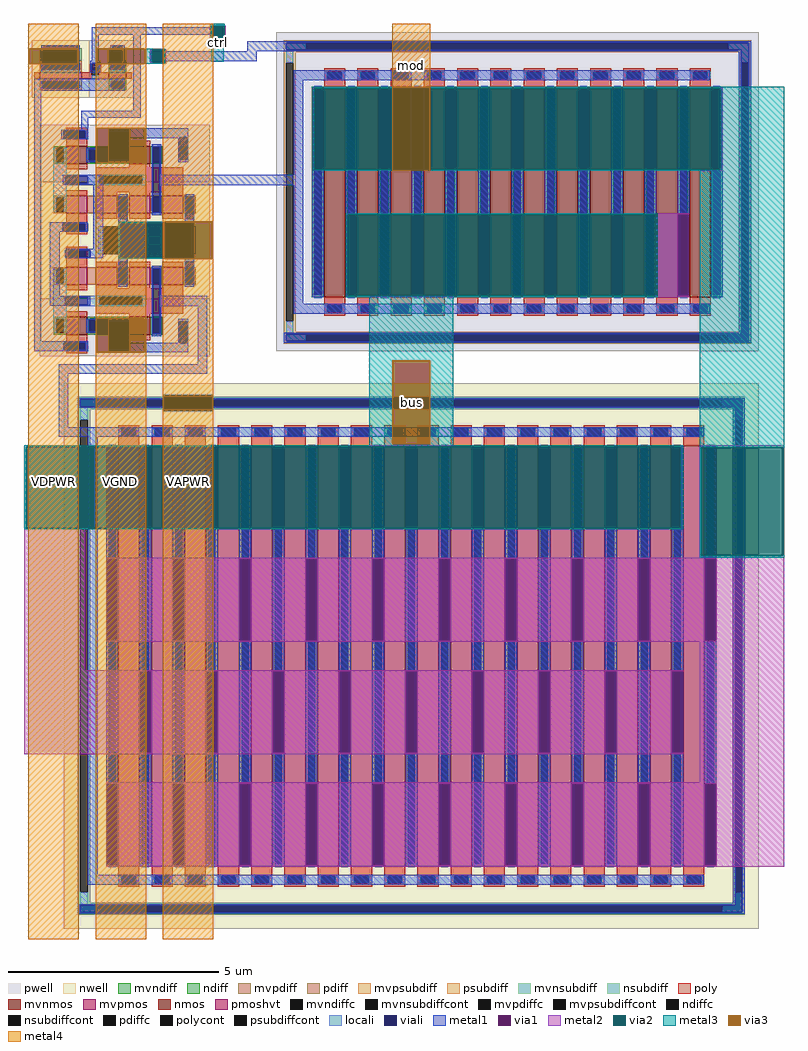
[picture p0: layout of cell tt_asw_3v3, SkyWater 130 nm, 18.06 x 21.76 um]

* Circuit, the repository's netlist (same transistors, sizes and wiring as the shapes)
** sch_path: /home/tnt/consult/tinytapeout/tt_asw_3v3/xschem/tt_asw_3v3.sch
.subckt tt_asw_3v3 VGND VDPWR VAPWR ctrl mod bus
*.iopin mod
*.iopin bus
*.ipin ctrl
*.iopin VGND
*.iopin VDPWR
*.iopin VAPWR
XM1 tgon_n net2 VAPWR VAPWR sky130_fd_pr__pfet_g5v0d10v5 L=0.5 W=0.84 nf=1 ad='int((nf+1)/2) * W/nf * 0.29' as='int((nf+2)/2) * W/nf * 0.29'
+ pd='2*int((nf+1)/2) * (W/nf + 0.29)' ps='2*int((nf+2)/2) * (W/nf + 0.29)' nrd='0.29 / W' nrs='0.29 / W' sa=0 sb=0 sd=0 mult=1 m=1
XM2 tgon_n net2 VGND VGND sky130_fd_pr__nfet_g5v0d10v5 L=0.5 W=0.42 nf=1 ad='int((nf+1)/2) * W/nf * 0.29' as='int((nf+2)/2) * W/nf * 0.29'
+ pd='2*int((nf+1)/2) * (W/nf + 0.29)' ps='2*int((nf+2)/2) * (W/nf + 0.29)' nrd='0.29 / W' nrs='0.29 / W' sa=0 sb=0 sd=0 mult=1 m=1
XM3 tgon net1 VAPWR VAPWR sky130_fd_pr__pfet_g5v0d10v5 L=0.5 W=0.84 nf=1 ad='int((nf+1)/2) * W/nf * 0.29' as='int((nf+2)/2) * W/nf * 0.29'
+ pd='2*int((nf+1)/2) * (W/nf + 0.29)' ps='2*int((nf+2)/2) * (W/nf + 0.29)' nrd='0.29 / W' nrs='0.29 / W' sa=0 sb=0 sd=0 mult=1 m=1
XM4 tgon net1 VGND VGND sky130_fd_pr__nfet_g5v0d10v5 L=0.5 W=0.42 nf=1 ad='int((nf+1)/2) * W/nf * 0.29' as='int((nf+2)/2) * W/nf * 0.29'
+ pd='2*int((nf+1)/2) * (W/nf + 0.29)' ps='2*int((nf+2)/2) * (W/nf + 0.29)' nrd='0.29 / W' nrs='0.29 / W' sa=0 sb=0 sd=0 mult=1 m=1
XM5 bus tgon_n mod VAPWR sky130_fd_pr__pfet_g5v0d10v5 L=0.5 W=180 nf=18 ad='int((nf+1)/2) * W/nf * 0.29' as='int((nf+2)/2) * W/nf * 0.29'
+ pd='2*int((nf+1)/2) * (W/nf + 0.29)' ps='2*int((nf+2)/2) * (W/nf + 0.29)' nrd='0.29 / W' nrs='0.29 / W' sa=0 sb=0 sd=0 mult=1 m=1
XM6 bus tgon mod VGND sky130_fd_pr__nfet_g5v0d10v5 L=0.5 W=60 nf=12 ad='int((nf+1)/2) * W/nf * 0.29' as='int((nf+2)/2) * W/nf * 0.29'
+ pd='2*int((nf+1)/2) * (W/nf + 0.29)' ps='2*int((nf+2)/2) * (W/nf + 0.29)' nrd='0.29 / W' nrs='0.29 / W' sa=0 sb=0 sd=0 mult=1 m=1
XM7 ctrl_n ctrl VGND VGND sky130_fd_pr__nfet_01v8 L=0.15 W=0.42 nf=1 ad='int((nf+1)/2) * W/nf * 0.29' as='int((nf+2)/2) * W/nf * 0.29'
+ pd='2*int((nf+1)/2) * (W/nf + 0.29)' ps='2*int((nf+2)/2) * (W/nf + 0.29)' nrd='0.29 / W' nrs='0.29 / W' sa=0 sb=0 sd=0 mult=1 m=1
XM8 ctrl_n ctrl VDPWR VDPWR sky130_fd_pr__pfet_01v8_hvt L=0.15 W=1 nf=1 ad='int((nf+1)/2) * W/nf * 0.29' as='int((nf+2)/2) * W/nf * 0.29'
+ pd='2*int((nf+1)/2) * (W/nf + 0.29)' ps='2*int((nf+2)/2) * (W/nf + 0.29)' nrd='0.29 / W' nrs='0.29 / W' sa=0 sb=0 sd=0 mult=1 m=1
XM9 net1 ctrl VGND VGND sky130_fd_pr__nfet_g5v0d10v5 L=0.5 W=0.42 nf=1 ad='int((nf+1)/2) * W/nf * 0.29' as='int((nf+2)/2) * W/nf * 0.29'
+ pd='2*int((nf+1)/2) * (W/nf + 0.29)' ps='2*int((nf+2)/2) * (W/nf + 0.29)' nrd='0.29 / W' nrs='0.29 / W' sa=0 sb=0 sd=0 mult=1 m=1
XM10 net2 ctrl_n VGND VGND sky130_fd_pr__nfet_g5v0d10v5 L=0.5 W=0.42 nf=1 ad='int((nf+1)/2) * W/nf * 0.29' as='int((nf+2)/2) * W/nf * 0.29'
+ pd='2*int((nf+1)/2) * (W/nf + 0.29)' ps='2*int((nf+2)/2) * (W/nf + 0.29)' nrd='0.29 / W' nrs='0.29 / W' sa=0 sb=0 sd=0 mult=1 m=1
XM11 net1 net2 net3 VAPWR sky130_fd_pr__pfet_g5v0d10v5 L=0.5 W=0.42 nf=1 ad='int((nf+1)/2) * W/nf * 0.29' as='int((nf+2)/2) * W/nf * 0.29'
+ pd='2*int((nf+1)/2) * (W/nf + 0.29)' ps='2*int((nf+2)/2) * (W/nf + 0.29)' nrd='0.29 / W' nrs='0.29 / W' sa=0 sb=0 sd=0 mult=1 m=1
XM12 net2 net1 net4 VAPWR sky130_fd_pr__pfet_g5v0d10v5 L=0.5 W=0.42 nf=1 ad='int((nf+1)/2) * W/nf * 0.29' as='int((nf+2)/2) * W/nf * 0.29'
+ pd='2*int((nf+1)/2) * (W/nf + 0.29)' ps='2*int((nf+2)/2) * (W/nf + 0.29)' nrd='0.29 / W' nrs='0.29 / W' sa=0 sb=0 sd=0 mult=1 m=1
XM13 net3 net1 VAPWR VAPWR sky130_fd_pr__pfet_g5v0d10v5 L=0.5 W=0.42 nf=1 ad='int((nf+1)/2) * W/nf * 0.29' as='int((nf+2)/2) * W/nf * 0.29'
+ pd='2*int((nf+1)/2) * (W/nf + 0.29)' ps='2*int((nf+2)/2) * (W/nf + 0.29)' nrd='0.29 / W' nrs='0.29 / W' sa=0 sb=0 sd=0 mult=1 m=1
XM14 net4 net2 VAPWR VAPWR sky130_fd_pr__pfet_g5v0d10v5 L=0.5 W=0.42 nf=1 ad='int((nf+1)/2) * W/nf * 0.29' as='int((nf+2)/2) * W/nf * 0.29'
+ pd='2*int((nf+1)/2) * (W/nf + 0.29)' ps='2*int((nf+2)/2) * (W/nf + 0.29)' nrd='0.29 / W' nrs='0.29 / W' sa=0 sb=0 sd=0 mult=1 m=1
.ends
.end

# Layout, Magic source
magic
tech sky130A
magscale 1 2
<< viali >>
rect 1246 4228 3444 4262
rect 3410 2876 3444 4228
rect 1246 2842 3444 2876
rect 268 2532 3414 2566
rect 3380 162 3414 2532
rect 268 128 3414 162
<< metal1 >>
rect 888 4334 894 4340
rect 322 4300 894 4334
rect 82 4224 266 4230
rect 322 4208 356 4300
rect 402 4224 470 4230
rect 82 4164 266 4170
rect 402 4164 470 4170
rect 48 2842 82 4090
rect 520 3938 554 4300
rect 888 4288 894 4300
rect 946 4288 952 4340
rect 1060 4262 3456 4268
rect 1060 4228 1246 4262
rect 598 4170 604 4224
rect 672 4220 678 4224
rect 1060 4222 3410 4228
rect 1060 4220 1106 4222
rect 672 4174 1106 4220
rect 672 4170 678 4174
rect 272 3904 554 3938
rect 1282 4084 3260 4130
rect 272 3848 306 3904
rect 1282 3635 1328 4084
rect 652 3585 1328 3635
rect 652 3009 872 3059
rect 48 2796 176 2842
rect 826 2734 872 3009
rect 1282 3020 1328 3585
rect 1370 4046 1424 4052
rect 1370 3052 1424 3658
rect 1528 3446 1582 4052
rect 1528 3052 1582 3058
rect 1686 4046 1740 4052
rect 1686 3052 1740 3658
rect 1844 3446 1898 4052
rect 1844 3052 1898 3058
rect 2002 4046 2056 4052
rect 2002 3052 2056 3658
rect 2160 3446 2214 4052
rect 2160 3052 2214 3058
rect 2318 4046 2372 4052
rect 2318 3052 2372 3658
rect 2476 3446 2530 4052
rect 2476 3052 2530 3058
rect 2634 4046 2688 4052
rect 2634 3052 2688 3658
rect 2792 3446 2846 4052
rect 2792 3052 2846 3058
rect 2950 4046 3004 4052
rect 2950 3052 3004 3658
rect 3108 3446 3162 4052
rect 3108 3052 3162 3058
rect 3266 4046 3320 4052
rect 3266 3052 3320 3658
rect 1282 2974 3260 3020
rect 3398 2882 3410 4222
rect 1234 2876 3410 2882
rect 1234 2842 1246 2876
rect 3444 2842 3456 4262
rect 1234 2836 3456 2842
rect 164 2688 872 2734
rect 164 2434 210 2688
rect 662 2576 898 2582
rect 256 2566 662 2572
rect 898 2566 3426 2572
rect 256 2532 268 2566
rect 256 2526 662 2532
rect 898 2526 3380 2532
rect 662 2516 898 2522
rect 164 2388 3230 2434
rect 304 306 350 2388
rect 392 1808 446 2348
rect 392 740 446 1420
rect 392 346 446 352
rect 550 2342 604 2348
rect 550 1274 604 1954
rect 550 346 604 886
rect 708 1808 762 2348
rect 708 740 762 1420
rect 708 346 762 352
rect 866 2342 920 2348
rect 866 1274 920 1954
rect 866 346 920 886
rect 1024 1808 1078 2348
rect 1024 740 1078 1420
rect 1024 346 1078 352
rect 1182 2342 1236 2348
rect 1182 1274 1236 1954
rect 1182 346 1236 886
rect 1340 1808 1394 2348
rect 1340 740 1394 1420
rect 1340 346 1394 352
rect 1498 2342 1552 2348
rect 1498 1274 1552 1954
rect 1498 346 1552 886
rect 1656 1808 1710 2348
rect 1656 740 1710 1420
rect 1656 346 1710 352
rect 1814 2342 1868 2348
rect 1814 1274 1868 1954
rect 1814 346 1868 886
rect 1972 1808 2026 2348
rect 1972 740 2026 1420
rect 1972 346 2026 352
rect 2130 2342 2184 2348
rect 2130 1274 2184 1954
rect 2130 346 2184 886
rect 2288 1808 2342 2348
rect 2288 740 2342 1420
rect 2288 346 2342 352
rect 2446 2342 2500 2348
rect 2446 1274 2500 1954
rect 2446 346 2500 886
rect 2604 1808 2658 2348
rect 2604 740 2658 1420
rect 2604 346 2658 352
rect 2762 2342 2816 2348
rect 2762 1274 2816 1954
rect 2762 346 2816 886
rect 2920 1808 2974 2348
rect 2920 740 2974 1420
rect 2920 346 2974 352
rect 3078 2342 3132 2348
rect 3078 1274 3132 1954
rect 3078 346 3132 886
rect 3236 1808 3290 2348
rect 3236 740 3290 1420
rect 3236 346 3290 352
rect 304 260 3230 306
rect 3368 168 3380 2526
rect 256 162 3380 168
rect 256 128 268 162
rect 3414 128 3426 2566
rect 256 122 3426 128
<< via1 >>
rect 82 4170 266 4224
rect 402 4170 470 4224
rect 894 4288 946 4340
rect 604 4170 672 4224
rect 406 3694 498 3854
rect 448 3240 810 3404
rect 406 2790 498 2950
rect 1370 3658 1424 4046
rect 1528 3058 1582 3446
rect 1686 3658 1740 4046
rect 1844 3058 1898 3446
rect 2002 3658 2056 4046
rect 2160 3058 2214 3446
rect 2318 3658 2372 4046
rect 2476 3058 2530 3446
rect 2634 3658 2688 4046
rect 2792 3058 2846 3446
rect 2950 3658 3004 4046
rect 3108 3058 3162 3446
rect 3266 3658 3320 4046
rect 662 2566 898 2576
rect 662 2532 898 2566
rect 662 2522 898 2532
rect 392 1420 446 1808
rect 392 352 446 740
rect 550 1954 604 2342
rect 550 886 604 1274
rect 708 1420 762 1808
rect 708 352 762 740
rect 866 1954 920 2342
rect 866 886 920 1274
rect 1024 1420 1078 1808
rect 1024 352 1078 740
rect 1182 1954 1236 2342
rect 1182 886 1236 1274
rect 1340 1420 1394 1808
rect 1340 352 1394 740
rect 1498 1954 1552 2342
rect 1498 886 1552 1274
rect 1656 1420 1710 1808
rect 1656 352 1710 740
rect 1814 1954 1868 2342
rect 1814 886 1868 1274
rect 1972 1420 2026 1808
rect 1972 352 2026 740
rect 2130 1954 2184 2342
rect 2130 886 2184 1274
rect 2288 1420 2342 1808
rect 2288 352 2342 740
rect 2446 1954 2500 2342
rect 2446 886 2500 1274
rect 2604 1420 2658 1808
rect 2604 352 2658 740
rect 2762 1954 2816 2342
rect 2762 886 2816 1274
rect 2920 1420 2974 1808
rect 2920 352 2974 740
rect 3078 1954 3132 2342
rect 3078 886 3132 1274
rect 3236 1420 3290 1808
rect 3236 352 3290 740
<< metal2 >>
rect 882 4286 892 4342
rect 948 4286 958 4342
rect 82 4226 266 4230
rect 82 4224 92 4226
rect 256 4224 266 4226
rect 82 4168 92 4170
rect 256 4168 266 4170
rect 82 4164 266 4168
rect 398 4226 474 4230
rect 398 4224 408 4226
rect 464 4224 474 4226
rect 398 4170 402 4224
rect 470 4170 474 4224
rect 398 4168 408 4170
rect 464 4168 474 4170
rect 398 4164 474 4168
rect 600 4226 676 4230
rect 600 4224 610 4226
rect 666 4224 676 4226
rect 600 4170 604 4224
rect 672 4170 676 4224
rect 600 4168 610 4170
rect 666 4168 676 4170
rect 600 4164 676 4168
rect 1370 4046 3320 4052
rect 400 3694 406 3854
rect 498 3694 504 3854
rect 1370 3652 3320 3658
rect 1528 3446 3162 3452
rect 448 3404 810 3410
rect 448 3234 810 3240
rect 3002 3058 3108 3446
rect 1528 3052 3162 3058
rect 400 2790 406 2950
rect 498 2790 504 2950
rect 662 2580 898 2582
rect 662 2576 672 2580
rect 888 2576 898 2580
rect 662 2518 672 2522
rect 888 2518 898 2522
rect 662 2516 898 2518
rect 0 2342 3132 2348
rect 0 1954 10 2342
rect 0 1948 3132 1954
rect 3212 2338 3612 2348
rect 0 1280 292 1948
rect 3212 1824 3218 2338
rect 3606 1824 3612 2338
rect 3212 1814 3612 1824
rect 392 1808 3612 1814
rect 446 1420 708 1808
rect 762 1420 1024 1808
rect 1078 1420 1340 1808
rect 1394 1420 1656 1808
rect 1710 1420 1972 1808
rect 2026 1420 2288 1808
rect 2342 1420 2604 1808
rect 2658 1420 2920 1808
rect 2974 1420 3236 1808
rect 3290 1420 3612 1808
rect 392 1414 3612 1420
rect 0 1274 3132 1280
rect 0 886 550 1274
rect 604 886 866 1274
rect 920 886 1182 1274
rect 1236 886 1498 1274
rect 1552 886 1814 1274
rect 1868 886 2130 1274
rect 2184 886 2446 1274
rect 2500 886 2762 1274
rect 2816 886 3078 1274
rect 0 880 3132 886
rect 3212 746 3612 1414
rect 392 740 3612 746
rect 446 352 708 740
rect 762 352 1024 740
rect 1078 352 1340 740
rect 1394 352 1656 740
rect 1710 352 1972 740
rect 2026 352 2288 740
rect 2342 352 2604 740
rect 2658 352 2920 740
rect 2974 352 3236 740
rect 3290 352 3612 740
rect 392 346 3612 352
<< via2 >>
rect 892 4340 948 4342
rect 892 4288 894 4340
rect 894 4288 946 4340
rect 946 4288 948 4340
rect 892 4286 948 4288
rect 92 4224 256 4226
rect 92 4170 256 4224
rect 92 4168 256 4170
rect 408 4224 464 4226
rect 408 4170 464 4224
rect 408 4168 464 4170
rect 610 4224 666 4226
rect 610 4170 666 4224
rect 610 4168 666 4170
rect 406 3704 498 3844
rect 1380 3658 1424 4046
rect 1424 3658 1686 4046
rect 1686 3658 1740 4046
rect 1740 3658 2002 4046
rect 2002 3658 2056 4046
rect 2056 3658 2318 4046
rect 2318 3658 2372 4046
rect 2372 3658 2634 4046
rect 2634 3658 2688 4046
rect 2688 3658 2950 4046
rect 2950 3658 3004 4046
rect 3004 3658 3266 4046
rect 3266 3658 3310 4046
rect 458 3240 800 3404
rect 1538 3058 1582 3446
rect 1582 3058 1844 3446
rect 1844 3058 1898 3446
rect 1898 3058 2160 3446
rect 2160 3058 2214 3446
rect 2214 3058 2476 3446
rect 2476 3058 2530 3446
rect 2530 3058 2792 3446
rect 2792 3058 2846 3446
rect 2846 3058 3002 3446
rect 406 2800 498 2940
rect 672 2576 888 2580
rect 672 2522 888 2576
rect 672 2518 888 2522
rect 10 1954 550 2342
rect 550 1954 604 2342
rect 604 1954 866 2342
rect 866 1954 920 2342
rect 920 1954 1182 2342
rect 1182 1954 1236 2342
rect 1236 1954 1498 2342
rect 1498 1954 1552 2342
rect 1552 1954 1814 2342
rect 1814 1954 1868 2342
rect 1868 1954 2130 2342
rect 2130 1954 2184 2342
rect 2184 1954 2446 2342
rect 2446 1954 2500 2342
rect 2500 1954 2762 2342
rect 2762 1954 2816 2342
rect 2816 1954 3078 2342
rect 3078 1954 3122 2342
rect 3218 1824 3606 2338
<< metal3 >>
rect 886 4342 954 4352
rect 886 4286 892 4342
rect 948 4286 954 4342
rect 886 4276 954 4286
rect 20 4162 26 4232
rect 254 4226 262 4232
rect 256 4168 262 4226
rect 254 4162 262 4168
rect 340 4162 346 4232
rect 574 4226 672 4232
rect 574 4168 610 4226
rect 666 4168 672 4226
rect 890 4172 950 4276
rect 574 4162 672 4168
rect 1370 4050 3612 4052
rect 1370 4046 1752 4050
rect 1928 4046 3612 4050
rect 340 3694 346 3854
rect 574 3694 580 3854
rect 1370 3658 1380 4046
rect 3310 3658 3612 4046
rect 1370 3654 1752 3658
rect 1928 3654 3612 3658
rect 1370 3652 3612 3654
rect 1528 3446 3012 3452
rect 448 3404 666 3410
rect 448 3240 458 3404
rect 448 3234 666 3240
rect 894 3234 900 3410
rect 1528 3058 1538 3446
rect 3002 3058 3012 3446
rect 1528 3052 3012 3058
rect 340 2790 346 2950
rect 574 2790 580 2950
rect 1640 2750 2040 3052
rect 662 2582 898 2588
rect 662 2510 898 2516
rect 1640 2354 1752 2750
rect 1928 2354 2040 2750
rect 1640 2348 2040 2354
rect 0 2342 3132 2348
rect 0 1954 10 2342
rect 3122 1954 3132 2342
rect 0 1948 3132 1954
rect 3212 2338 3612 3652
rect 3212 1824 3218 2338
rect 3606 1824 3612 2338
rect 3212 1814 3612 1824
<< via3 >>
rect 26 4226 254 4232
rect 26 4168 92 4226
rect 92 4168 254 4226
rect 26 4162 254 4168
rect 346 4226 574 4232
rect 346 4168 408 4226
rect 408 4168 464 4226
rect 464 4168 574 4226
rect 346 4162 574 4168
rect 1752 4046 1928 4050
rect 346 3844 574 3854
rect 346 3704 406 3844
rect 406 3704 498 3844
rect 498 3704 574 3844
rect 346 3694 574 3704
rect 1752 3658 1928 4046
rect 1752 3654 1928 3658
rect 666 3404 894 3410
rect 666 3240 800 3404
rect 800 3240 894 3404
rect 666 3234 894 3240
rect 346 2940 574 2950
rect 346 2800 406 2940
rect 406 2800 498 2940
rect 498 2800 574 2940
rect 346 2790 574 2800
rect 662 2580 898 2582
rect 662 2518 672 2580
rect 672 2518 888 2580
rect 888 2518 898 2580
rect 662 2516 898 2518
rect 1752 2354 1928 2750
<< metal4 >>
rect 20 4232 260 4352
rect 20 4162 26 4232
rect 254 4162 260 4232
rect 20 0 260 4162
rect 340 4232 580 4352
rect 340 4162 346 4232
rect 574 4162 580 4232
rect 340 3854 580 4162
rect 340 3694 346 3854
rect 574 3694 580 3854
rect 340 2950 580 3694
rect 340 2790 346 2950
rect 574 2790 580 2950
rect 340 0 580 2790
rect 660 3410 900 4352
rect 1750 4050 1930 4352
rect 1750 3654 1752 4050
rect 1928 3654 1930 4050
rect 1750 3652 1930 3654
rect 660 3234 666 3410
rect 894 3234 900 3410
rect 660 2582 900 3234
rect 660 2516 662 2582
rect 898 2516 900 2582
rect 660 0 900 2516
rect 1750 2750 1930 2752
rect 1750 2354 1752 2750
rect 1928 2354 1930 2750
rect 1750 2352 1930 2354
use sky130_fd_pr__nfet_g5v0d10v5_SFRJCA  sky130_fd_pr__nfet_g5v0d10v5_SFRJCA_0
transform 1 0 2345 0 1 3552
box -1147 -758 1147 758
use sky130_fd_pr__pfet_g5v0d10v5_CYUY46  sky130_fd_pr__pfet_g5v0d10v5_CYUY46_0
transform 1 0 1841 0 1 1347
box -1651 -1297 1651 1297
use tt_lvl_shift  tt_lvl_shift_0
transform -1 0 880 0 -1 3322
box -2 -550 804 550
use tt_small_inv  tt_small_inv_0
transform 0 1 -4806 -1 0 4940
box 668 4844 940 5328
<< labels >>
rlabel metal4 20 0 260 4352 1 VDPWR
port 2 n power input
rlabel metal3 890 4172 950 4352 1 ctrl
port 4 n signal input
rlabel metal4 1750 3952 1930 4352 1 mod
port 5 n analog bidirectional
rlabel metal4 1750 2352 1930 2752 1 bus
port 6 n analog bidirectional
rlabel metal4 660 0 900 4352 1 VAPWR
port 3 n power input
rlabel metal4 340 0 580 4352 1 VGND
port 1 n ground input
<< properties >>
string FIXED_BBOX 0 0 3680 4352
<< end >>

# cell sky130_fd_pr__nfet_g5v0d10v5_SFRJCA: kit device sky130_fd_pr__nfet_g5v0d10v5, w 5 l 0.5 m 1 nf 12 diffcov 100 polycov 100 guard 1 glc 1 grc 1 gtc 1 gbc 1 tbcov 100 rlcov 100 topc 1 botc 1 poverlap 0 doverlap 1 lmin 0.50 wmin 0.42 compatible {sky130_fd_pr__nfet_01v8 sky130_fd_pr__nfet_01v8_lvt sky130_fd_bs_flash__special_sonosfet_star sky130_fd_pr__nfet_g5v0d10v5 sky130_fd_pr__nfet_05v0_nvt sky130_fd_pr__nfet_03v3_nvt} full_metal 1 viasrc 100 viadrn 100 viagate 100 viagb 0 viagr 0 viagl 0 viagt 0

# cell sky130_fd_pr__pfet_g5v0d10v5_CYUY46: kit device sky130_fd_pr__pfet_g5v0d10v5, w 10 l 0.5 m 1 nf 18 diffcov 100 polycov 100 guard 1 glc 1 grc 1 gtc 1 gbc 1 tbcov 100 rlcov 100 topc 1 botc 1 poverlap 0 doverlap 1 lmin 0.50 wmin 0.42 compatible {sky130_fd_pr__pfet_01v8 sky130_fd_pr__pfet_01v8_lvt sky130_fd_pr__pfet_01v8_hvt sky130_fd_pr__pfet_g5v0d10v5} full_metal 1 viasrc 100 viadrn 100 viagate 100 viagb 0 viagr 0 viagl 0 viagt 0

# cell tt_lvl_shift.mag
magic
tech sky130A
magscale 1 2
<< nwell >>
rect -2 -278 804 278
<< pwell >>
rect -2 278 804 550
rect -2 -550 804 -278
<< mvnmos >>
rect 280 364 380 448
rect 580 364 680 448
rect 280 -448 380 -364
rect 580 -448 680 -364
<< mvpmos >>
rect 122 128 222 212
rect 280 128 380 212
rect 438 128 538 212
rect 580 128 680 212
rect 122 -212 222 -128
rect 280 -212 380 -128
rect 438 -212 538 -128
rect 580 -212 680 -128
<< mvndiff >>
rect 222 440 280 448
rect 222 372 234 440
rect 268 372 280 440
rect 222 364 280 372
rect 380 440 580 448
rect 380 372 392 440
rect 568 372 580 440
rect 380 364 580 372
rect 680 440 738 448
rect 680 372 692 440
rect 726 372 738 440
rect 680 364 738 372
rect 222 -372 280 -364
rect 222 -440 234 -372
rect 268 -440 280 -372
rect 222 -448 280 -440
rect 380 -372 580 -364
rect 380 -440 392 -372
rect 568 -440 580 -372
rect 380 -448 580 -440
rect 680 -372 738 -364
rect 680 -440 692 -372
rect 726 -440 738 -372
rect 680 -448 738 -440
<< mvpdiff >>
rect 64 204 122 212
rect 64 136 76 204
rect 110 136 122 204
rect 64 128 122 136
rect 222 204 280 212
rect 222 136 234 204
rect 268 136 280 204
rect 222 128 280 136
rect 380 204 438 212
rect 380 136 392 204
rect 426 136 438 204
rect 380 128 438 136
rect 538 128 580 212
rect 680 204 738 212
rect 680 136 692 204
rect 726 136 738 204
rect 680 128 738 136
rect 64 -136 122 -128
rect 64 -204 76 -136
rect 110 -204 122 -136
rect 64 -212 122 -204
rect 222 -136 280 -128
rect 222 -204 234 -136
rect 268 -204 280 -136
rect 222 -212 280 -204
rect 380 -136 438 -128
rect 380 -204 392 -136
rect 426 -204 438 -136
rect 380 -212 438 -204
rect 538 -212 580 -128
rect 680 -136 738 -128
rect 680 -204 692 -136
rect 726 -204 738 -136
rect 680 -212 738 -204
<< mvndiffc >>
rect 234 372 268 440
rect 392 372 568 440
rect 692 372 726 440
rect 234 -440 268 -372
rect 392 -440 568 -372
rect 692 -440 726 -372
<< mvpdiffc >>
rect 76 136 110 204
rect 234 136 268 204
rect 392 136 426 204
rect 692 136 726 204
rect 76 -204 110 -136
rect 234 -204 268 -136
rect 392 -204 426 -136
rect 692 -204 726 -136
<< mvpsubdiff >>
rect 104 446 142 470
rect 104 412 106 446
rect 140 412 142 446
rect 104 388 142 412
rect 104 -412 142 -388
rect 104 -446 106 -412
rect 140 -446 142 -412
rect 104 -470 142 -446
<< mvnsubdiff >>
rect 64 -66 88 66
rect 504 -66 528 66
<< mvpsubdiffcont >>
rect 106 412 140 446
rect 106 -446 140 -412
<< mvnsubdiffcont >>
rect 88 -66 504 66
<< poly >>
rect 580 520 680 536
rect 580 486 590 520
rect 670 486 680 520
rect 280 448 380 474
rect 580 448 680 486
rect 280 348 380 364
rect 122 307 538 348
rect 580 338 680 364
rect 122 269 318 307
rect 522 269 538 307
rect 122 228 538 269
rect 122 212 222 228
rect 280 212 380 228
rect 438 212 538 228
rect 580 212 680 238
rect 122 102 222 128
rect 280 102 380 128
rect 438 102 538 128
rect 580 80 680 128
rect 580 46 590 80
rect 670 46 680 80
rect 580 30 680 46
rect 580 -46 680 -30
rect 580 -80 590 -46
rect 670 -80 680 -46
rect 122 -128 222 -102
rect 280 -128 380 -102
rect 438 -128 538 -102
rect 580 -128 680 -80
rect 122 -228 222 -212
rect 280 -228 380 -212
rect 438 -228 538 -212
rect 122 -269 538 -228
rect 580 -238 680 -212
rect 122 -307 318 -269
rect 522 -307 538 -269
rect 122 -348 538 -307
rect 280 -364 380 -348
rect 580 -364 680 -338
rect 280 -474 380 -448
rect 580 -486 680 -448
rect 580 -520 590 -486
rect 670 -520 680 -486
rect 580 -536 680 -520
<< polycont >>
rect 590 486 670 520
rect 318 269 522 307
rect 590 46 670 80
rect 590 -80 670 -46
rect 318 -307 522 -269
rect 590 -520 670 -486
<< locali >>
rect 574 486 586 520
rect 234 444 268 456
rect 376 434 392 440
rect 568 434 584 440
rect 376 378 388 434
rect 572 378 584 434
rect 376 372 392 378
rect 568 372 584 378
rect 676 372 692 440
rect 726 372 742 440
rect 76 208 110 220
rect 676 313 742 372
rect 302 307 742 313
rect 302 269 318 307
rect 522 305 742 307
rect 522 271 576 305
rect 684 271 742 305
rect 522 269 742 271
rect 302 263 742 269
rect 234 120 268 132
rect 392 208 426 220
rect 676 204 742 263
rect 676 136 692 204
rect 726 136 742 204
rect 76 66 110 102
rect 392 66 426 102
rect 72 20 88 66
rect 72 -20 82 20
rect 72 -66 88 -20
rect 504 -66 520 66
rect 670 46 686 80
rect 76 -102 110 -66
rect 392 -102 426 -66
rect 574 -80 590 -46
rect 76 -220 110 -208
rect 234 -132 268 -120
rect 392 -220 426 -208
rect 676 -204 692 -136
rect 726 -204 742 -136
rect 676 -263 742 -204
rect 302 -269 742 -263
rect 302 -307 318 -269
rect 522 -271 742 -269
rect 522 -305 576 -271
rect 684 -305 742 -271
rect 522 -307 742 -305
rect 302 -313 742 -307
rect 676 -372 742 -313
rect 376 -378 392 -372
rect 568 -378 584 -372
rect 376 -434 388 -378
rect 572 -434 584 -378
rect 376 -440 392 -434
rect 568 -440 584 -434
rect 676 -440 692 -372
rect 726 -440 742 -372
rect 234 -456 268 -444
rect 574 -520 586 -486
<< viali >>
rect 106 446 140 490
rect 586 486 590 520
rect 590 486 670 520
rect 670 486 692 520
rect 106 412 140 446
rect 106 384 140 412
rect 234 440 268 444
rect 234 372 268 440
rect 388 378 392 434
rect 392 378 568 434
rect 568 378 572 434
rect 76 204 110 208
rect 76 136 110 204
rect 76 102 110 136
rect 234 204 268 372
rect 576 271 684 305
rect 234 136 268 204
rect 234 132 268 136
rect 392 204 426 208
rect 392 136 426 204
rect 392 102 426 136
rect 82 -20 88 20
rect 88 -20 420 20
rect 564 46 590 80
rect 590 46 670 80
rect 76 -136 110 -102
rect 590 -80 670 -46
rect 670 -80 696 -46
rect 76 -204 110 -136
rect 76 -208 110 -204
rect 234 -136 268 -132
rect 234 -204 268 -136
rect 234 -372 268 -204
rect 392 -136 426 -102
rect 392 -204 426 -136
rect 392 -208 426 -204
rect 576 -305 684 -271
rect 106 -412 140 -384
rect 106 -446 140 -412
rect 106 -490 140 -446
rect 234 -440 268 -372
rect 388 -434 392 -378
rect 392 -434 568 -378
rect 568 -434 572 -378
rect 234 -444 268 -440
rect 586 -520 590 -486
rect 590 -520 670 -486
rect 670 -520 692 -486
<< metal1 >>
rect 100 490 480 532
rect 100 384 106 490
rect 140 486 480 490
rect 140 384 146 486
rect 100 372 146 384
rect 228 444 274 456
rect 70 208 116 220
rect 70 102 76 208
rect 110 102 116 208
rect 228 132 234 444
rect 268 132 274 444
rect 376 440 480 486
rect 574 520 704 526
rect 574 486 586 520
rect 692 486 704 520
rect 574 480 704 486
rect 376 434 584 440
rect 376 378 388 434
rect 572 378 584 434
rect 376 372 584 378
rect 564 305 758 311
rect 564 271 576 305
rect 684 271 758 305
rect 564 265 758 271
rect 228 120 274 132
rect 386 208 432 220
rect 70 88 116 102
rect 386 102 392 208
rect 426 102 432 208
rect 386 88 432 102
rect 70 20 432 88
rect 70 -20 82 20
rect 420 -20 432 20
rect 70 -88 432 -20
rect 70 -102 116 -88
rect 70 -208 76 -102
rect 110 -208 116 -102
rect 386 -102 432 -88
rect 70 -220 116 -208
rect 228 -132 274 -120
rect 100 -384 146 -372
rect 100 -490 106 -384
rect 140 -486 146 -384
rect 228 -444 234 -132
rect 268 -444 274 -132
rect 386 -208 392 -102
rect 426 -208 432 -102
rect 386 -220 432 -208
rect 504 80 682 86
rect 504 46 564 80
rect 670 46 682 80
rect 504 40 682 46
rect 504 -265 550 40
rect 710 -40 758 265
rect 578 -46 758 -40
rect 578 -80 590 -46
rect 696 -80 758 -46
rect 578 -86 758 -80
rect 504 -271 696 -265
rect 504 -305 576 -271
rect 684 -305 696 -271
rect 504 -311 696 -305
rect 228 -456 274 -444
rect 376 -378 584 -372
rect 376 -434 388 -378
rect 572 -434 584 -378
rect 376 -440 584 -434
rect 376 -486 480 -440
rect 140 -490 480 -486
rect 100 -532 480 -490
rect 574 -486 704 -480
rect 574 -520 586 -486
rect 692 -520 704 -486
rect 574 -526 704 -520
<< end >>

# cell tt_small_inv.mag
magic
tech sky130A
<< nwell >>
rect 334 2422 470 2558
<< pwell >>
rect 334 2558 470 2664
<< nmos >>
rect 410 2604 425 2646
<< pmoshvt >>
rect 410 2440 425 2540
<< ndiff >>
rect 380 2642 410 2646
rect 380 2608 387 2642
rect 404 2608 410 2642
rect 380 2604 410 2608
rect 425 2634 452 2646
rect 425 2616 431 2634
rect 448 2616 452 2634
rect 425 2604 452 2616
<< pdiff >>
rect 381 2536 410 2540
rect 381 2444 387 2536
rect 404 2444 410 2536
rect 381 2440 410 2444
rect 425 2528 452 2540
rect 425 2452 431 2528
rect 448 2452 452 2528
rect 425 2440 452 2452
<< ndiffc >>
rect 387 2608 404 2642
rect 431 2616 448 2634
<< pdiffc >>
rect 387 2444 404 2536
rect 431 2452 448 2528
<< psubdiff >>
rect 351 2634 380 2646
rect 351 2616 353 2634
rect 370 2616 380 2634
rect 351 2604 380 2616
<< nsubdiff >>
rect 352 2528 381 2540
rect 352 2452 353 2528
rect 370 2452 381 2528
rect 352 2440 381 2452
<< psubdiffcont >>
rect 353 2616 370 2634
<< nsubdiffcont >>
rect 353 2452 370 2528
<< poly >>
rect 410 2646 425 2659
rect 410 2586 425 2604
rect 392 2581 425 2586
rect 392 2564 400 2581
rect 417 2564 425 2581
rect 392 2559 425 2564
rect 410 2540 425 2559
rect 410 2427 425 2440
<< polycont >>
rect 400 2564 417 2581
<< locali >>
rect 345 2636 387 2642
rect 345 2614 348 2636
rect 345 2608 387 2614
rect 404 2608 412 2642
rect 431 2639 448 2642
rect 431 2608 448 2611
rect 417 2564 425 2581
rect 345 2530 387 2536
rect 345 2450 348 2530
rect 345 2444 387 2450
rect 404 2444 412 2536
rect 431 2533 448 2536
rect 431 2444 448 2447
<< viali >>
rect 348 2634 387 2636
rect 348 2616 353 2634
rect 353 2616 370 2634
rect 370 2616 387 2634
rect 348 2614 387 2616
rect 387 2614 402 2636
rect 431 2634 448 2639
rect 431 2616 448 2634
rect 431 2611 448 2616
rect 388 2564 400 2581
rect 400 2564 405 2581
rect 348 2528 387 2530
rect 348 2452 353 2528
rect 353 2452 370 2528
rect 370 2452 387 2528
rect 348 2450 387 2452
rect 387 2450 402 2530
rect 431 2528 448 2533
rect 431 2452 448 2528
rect 431 2447 448 2452
<< metal1 >>
rect 345 2636 405 2642
rect 345 2614 348 2636
rect 402 2614 405 2636
rect 345 2608 405 2614
rect 425 2639 454 2642
rect 425 2611 431 2639
rect 448 2611 454 2639
rect 382 2581 411 2584
rect 366 2564 388 2581
rect 405 2564 411 2581
rect 382 2561 411 2564
rect 345 2530 405 2536
rect 345 2450 348 2530
rect 402 2450 405 2530
rect 345 2444 405 2450
rect 425 2533 454 2611
rect 425 2447 431 2533
rect 448 2447 454 2533
rect 425 2444 454 2447
<< end >>
